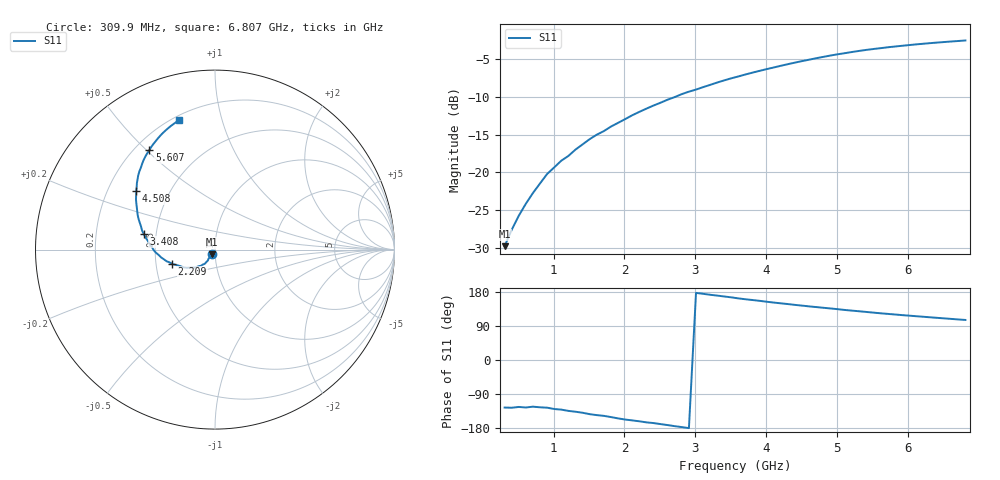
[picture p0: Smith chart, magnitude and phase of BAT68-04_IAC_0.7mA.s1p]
! Infineon Technologies  Discrete & RF Semiconductors
! BAT68-04
! IAC = 0.7 mA
! One-Port S-Parameters
# Hz  S  MA  R  50
!f  S11
!Hz  Mag  Ang
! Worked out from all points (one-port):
!   66 points, 309.9 MHz to 6.807 GHz, reference 50 ohm
!   lowest |S11| = -29.8 dB at 309.9 MHz (marker M1), VSWR 1.07, Z = 48.1 - j2.54 ohm
!   |S11| at or under -10 dB: start of sweep to 2.714 GHz
!   S11 on the Smith chart (normalised r, x): 309.9 MHz: 0.96, -0.05; 2.209 GHz: 0.61, -0.10; 3.408 GHz: 0.43, +0.09; 4.508 GHz: 0.32, +0.30; 5.607 GHz: 0.26, +0.51; 6.807 GHz: 0.22, +0.73
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3.0985e8  0.03246 -125.5
4.098e8  0.04166 -126.0
5.0975e8  0.05165 -123.9
6.097e8  0.06207 -125.4
7.0965e8  0.07307 -123.1
9.0955e8  0.09767 -125.8
1.10945e9  0.1196 -131.0
1.2094e9  0.1286 -134.3
1.30935e9  0.1416 -136.5
1.50925e9  0.1661 -142.9
1.6092e9  0.1778 -145.5
1.70915e9  0.1877 -147.4
1.8091e9  0.2011 -150.6
2.009e9  0.2253 -157.1
2.2089e9  0.2517 -161.7
2.4088e9  0.2772 -166.4
2.8086e9  0.3301 -177.1
3.4083e9  0.4072 167.6
3.6082e9  0.4324 162.5
3.90805e9  0.471 156.1
4.4078e9  0.5341 145.4
4.50775e9  0.5466 143.4
4.90755e9  0.5949 136.0
5.2074e9  0.6274 130.3
5.6072e9  0.6648 123.3
6.007e9  0.6967 117.1
6.30685e9  0.718 112.7
6.8066e9  0.7482 105.7
